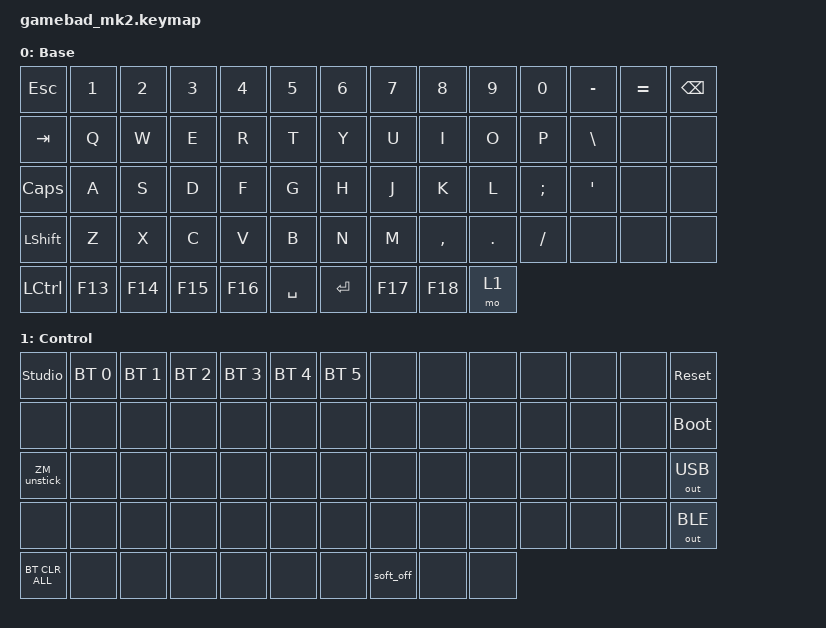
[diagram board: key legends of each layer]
#include <behaviors.dtsi>

#include <dt-bindings/zmk/keys.h>

#include <dt-bindings/zmk/outputs.h>
#include <dt-bindings/zmk/bt.h>

// Template:
// -------------------------------------------------------- //
//  xx  xx  xx  xx  xx  xx  xx  xx  xx  xx  xx  xx  xx  xx  //
//  xx  xx  xx  xx  xx  xx  xx  xx  xx  xx  xx  xx  xx  xx  //
//  xx  xx  xx  xx  xx  xx  xx  xx  xx  xx  xx  xx  xx  xx  //
//  xx  xx  xx  xx  xx  xx  xx  xx  xx  xx  xx  xx  xx  xx  //
//  xx  xx  xx  xx  xx  xx  xx  xx  xx  xx                  //
// -------------------------------------------------------- //
// bindings = <
//   &none  &none  &none  &none  &none  &none  &none  &none  &none  &none   &none  &none  &none  &none
//   &none  &none  &none  &none  &none  &none  &none  &none  &none  &none   &none  &none  &none  &none
//   &none  &none  &none  &none  &none  &none  &none  &none  &none  &none   &none  &none  &none  &none
//   &none  &none  &none  &none  &none  &none  &none  &none  &none  &none   &none  &none  &none  &none
//   &none  &none  &none  &none  &none  &none  &none  &none  &none  &none
// >;

/ {
  keymap0: keymap {
    compatible = "zmk,keymap";

    default_layer {
      display-name = "Base";
      // ---------------------------------------------------------------------------------- //
      //  ESC     1    2    3    4    5      6      7    8    9           0   -   =   BSPC  //
      //  TAB     Q    W    E    R    T      Y      U    I    O           P   \   xx  xx    //
      //  CLCK    A    S    D    F    G      H      J    K    L           ;   '   xx  xx    //
      //  LSHIFT  Z    X    C    V    B      N      M    ,    .           /   xx  xx  xx    //
      //  LCTRL   F13  F14  F15  F16  SPACE  ENTER  F17  F18  layer_ctrl  na  na  na  na    //
      // ---------------------------------------------------------------------------------- //
      bindings = <
        &kp ESC    &kp N1   &kp N2   &kp N3   &kp N4   &kp N5     &kp N6     &kp N7   &kp N8     &kp N9      &kp N0    &kp MINUS  &kp EQUAL  &kp BSPC
        &kp TAB    &kp Q    &kp W    &kp E    &kp R    &kp T      &kp Y      &kp U    &kp I      &kp O       &kp P     &kp BSLH   &none      &none
        &kp CLCK   &kp A    &kp S    &kp D    &kp F    &kp G      &kp H      &kp J    &kp K      &kp L       &kp SCLN  &kp SQT    &none      &none
        &kp LSHFT  &kp Z    &kp X    &kp C    &kp V    &kp B      &kp N      &kp M    &kp COMMA  &kp PERIOD  &kp FSLH  &none      &none      &none
        &kp LCTRL  &kp F13  &kp F14  &kp F15  &kp F16  &kp SPACE  &kp ENTER  &kp F17  &kp F18    &mo 1
      >;
    };

    control_layer {
      display-name = "Control";
      // --------------------------------------------------------- //
      //  studio_unlock  prf.0  prf.1  prf.2  prf.3  prf.4  prf.5  xx  xx  xx  xx  xx  xx   xx  //
      //  xx  xx  xx  xx  xx  xx  xx  xx  xx  xx  xx  xx  xx  xx  //
      //  xx  xx  xx  xx  xx  xx  xx  xx  xx  xx  xx  xx  xx  xx  //
      //  xx  xx  xx  xx  xx  xx  xx  xx  xx  xx  xx  xx  xx  xx  //
      //  xx  xx  xx  xx  xx  xx  xx  xx  xx  xx  xx  xx  xx  xx  //
      // --------------------------------------------------------- //
      bindings = <
        &studio_unlock  &bt BT_SEL 0  &bt BT_SEL 1  &bt BT_SEL 2  &bt BT_SEL 3  &bt BT_SEL 4  &bt BT_SEL 5  &none  &none  &none   &none  &none  &none  &sys_reset
        &none           &none  &none  &none  &none  &none  &none  &none      &none  &none   &none  &none  &none  &bootloader
        &ZM_unstick     &none  &none  &none  &none  &none  &none  &none      &none  &none   &none  &none  &none  &out OUT_USB
        &none           &none  &none  &none  &none  &none  &none  &none      &none  &none   &none  &none  &none  &out OUT_BLE
        &bt BT_CLR_ALL  &none  &none  &none  &none  &none  &none  &soft_off  &none  &none
      >;
    };
  };

  macros {
    ZM_unstick: ZM_unstick {
    	label = "ZM_unstick";
    	compatible = "zmk,behavior-macro";
    	#binding-cells = <0>;
    	bindings = <&kp LSHIFT &kp RSHIFT &kp LCTRL &kp RCTRL &kp LALT &kp RALT &kp LGUI &kp RGUI>;
    };
  };
};
